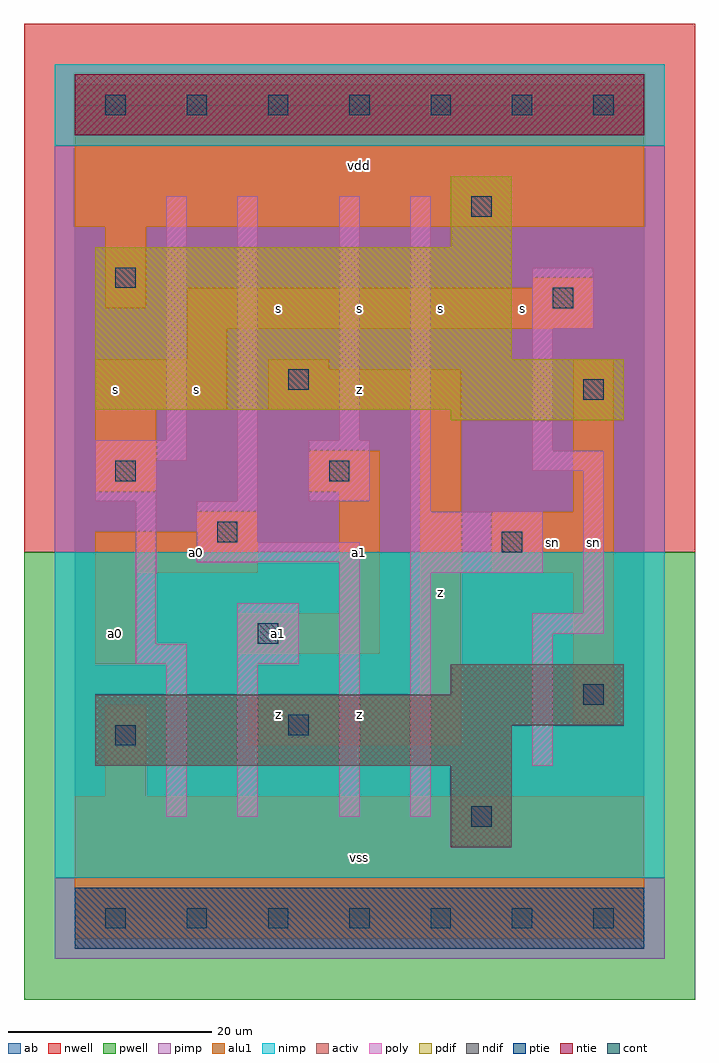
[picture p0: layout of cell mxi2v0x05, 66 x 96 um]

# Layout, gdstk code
import gdstk
lib = gdstk.Library(unit=1e-6, precision=1e-09)
def R(c, l, rs):  # rectangles x0, y0, x1, y1
    for r in rs: c.add(gdstk.rectangle(r[:2], r[2:], *l))
def A(c, l, x, y, w, h, nx, ny, dx, dy):  # array of equal rectangles
    R(c, l, [(x+i*dx, y+j*dy, x+i*dx+w, y+j*dy+h) for i in range(nx) for j in range(ny)])
ndif = (3, 0)
pdif = (4, 0)
ntie = (5, 0)
ptie = (6, 0)
cont = (25, 0)
pwell = (41, 0)
nwell = (42, 0)
activ = (43, 0)
pimp = (44, 0)
nimp = (45, 0)
poly = (46, 0)
alu1 = (49, 0)
ab = (63, 0)

mxi2v0x05 = lib.new_cell('mxi2v0x05')
R(mxi2v0x05, ndif, [(37,7,43,15), (2,15,43,19), (2,19,54,22), (37,22,54,25)])
R(mxi2v0x05, pdif, [(37,49,54,50), (2,50,54,55), (2,55,43,66), (37,66,43,73)])
R(mxi2v0x05, ntie, [(0,77,56,83)])
R(mxi2v0x05, ptie, [(0,-3,56,3)])
A(mxi2v0x05, cont, 3, -1, 2, 2, 7, 2, 8, 80)
R(mxi2v0x05, cont, [(39,9,41,11), (4,17,6,19), (21,18,23,20), (50,21,52,23), (18,27,20,29), (42,36,44,38), (14,37,16,39), (4,43,6,45), (25,43,27,45), (50,51,52,53), (21,52,23,54), (47,60,49,62), (4,62,6,64), (39,69,41,71)])
R(mxi2v0x05, pwell, [(-5,-8,61,36)])
R(mxi2v0x05, nwell, [(-5,36,61,88)])
R(mxi2v0x05, activ, [(0,-3,56,3), (37,7,43,15), (2,15,43,19), (2,19,54,22), (37,22,54,25), (37,49,54,50), (2,50,54,55), (2,55,43,66), (37,66,43,73), (0,77,56,83)])
R(mxi2v0x05, pimp, [(-2,-4,58,4), (-2,36,58,76)])
R(mxi2v0x05, nimp, [(-2,4,58,36), (-2,76,58,84)])
R(mxi2v0x05, poly, [(9,10,11,25), (16,10,18,25), (26,10,28,35), (33,10,35,34), (45,15,47,28), (6,25,11,27), (16,25,22,31), (6,27,8,41), (45,28,52,30), (50,30,52,44), (33,34,46,40), (12,35,28,37), (12,37,18,41), (33,40,35,71), (2,41,8,45), (16,41,18,71), (23,41,29,47), (45,44,52,46), (2,45,11,47), (45,46,47,58), (9,47,11,71), (26,47,28,71), (45,58,51,64)])
R(mxi2v0x05, alu1, [(0,-2,56,12), (3,12,7,21), (17,17,38,22), (49,19,53,34), (34,22,38,50), (2,25,6,34), (16,26,30,30), (26,30,30,42), (2,34,18,38), (41,34,53,40), (12,38,18,40), (49,40,53,55), (2,42,8,50), (23,42,30,46), (2,50,15,55), (19,50,38,54), (19,54,25,55), (11,55,15,58), (11,58,51,62), (3,60,7,68), (45,62,51,63), (0,68,56,82)])
R(mxi2v0x05, ab, [(0,0,56,80)])
mxi2v0x05.add(gdstk.Label('sn', (47,37), layer=49, texttype=0))
mxi2v0x05.add(gdstk.Label('sn', (51,37), layer=49, texttype=0))
mxi2v0x05.add(gdstk.Label('a0', (4,28), layer=49, texttype=0))
mxi2v0x05.add(gdstk.Label('s', (4,52), layer=49, texttype=0))
mxi2v0x05.add(gdstk.Label('z', (20,20), layer=49, texttype=0))
mxi2v0x05.add(gdstk.Label('a0', (12,36), layer=49, texttype=0))
mxi2v0x05.add(gdstk.Label('a1', (20,28), layer=49, texttype=0))
mxi2v0x05.add(gdstk.Label('s', (12,52), layer=49, texttype=0))
mxi2v0x05.add(gdstk.Label('s', (20,60), layer=49, texttype=0))
mxi2v0x05.add(gdstk.Label('vss', (28,6), layer=49, texttype=0))
mxi2v0x05.add(gdstk.Label('z', (28,20), layer=49, texttype=0))
mxi2v0x05.add(gdstk.Label('a1', (28,36), layer=49, texttype=0))
mxi2v0x05.add(gdstk.Label('z', (36,32), layer=49, texttype=0))
mxi2v0x05.add(gdstk.Label('z', (28,52), layer=49, texttype=0))
mxi2v0x05.add(gdstk.Label('s', (36,60), layer=49, texttype=0))
mxi2v0x05.add(gdstk.Label('s', (28,60), layer=49, texttype=0))
mxi2v0x05.add(gdstk.Label('vdd', (28,74), layer=49, texttype=0))
mxi2v0x05.add(gdstk.Label('s', (44,60), layer=49, texttype=0))

lib.write_gds('mxi2v0x05.gds')
